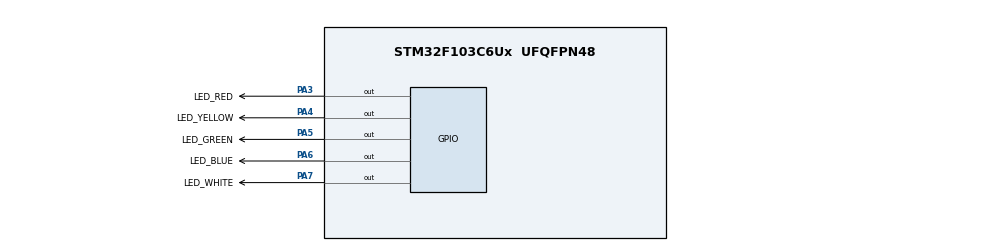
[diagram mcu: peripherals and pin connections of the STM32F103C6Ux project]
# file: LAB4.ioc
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Mcu.Family=STM32F1
Mcu.Name=STM32F103C6Ux
Mcu.Package=UFQFPN48
NVIC.PriorityGroup=NVIC_PRIORITYGROUP_4
NVIC.TIM2_IRQn=true\:0\:0\:false\:false\:true\:true\:true
PA13.Mode=Serial_Wire
PA13.Signal=SYS_JTMS-SWDIO
PA14.Mode=Serial_Wire
PA14.Signal=SYS_JTCK-SWCLK
PA3.GPIO_Label=LED_RED
PA3.Signal=GPIO_Output
PA4.GPIO_Label=LED_YELLOW
PA4.Signal=GPIO_Output
PA5.GPIO_Label=LED_GREEN
PA5.Signal=GPIO_Output
PA6.GPIO_Label=LED_BLUE
PA6.Signal=GPIO_Output
PA7.GPIO_Label=LED_WHITE
PA7.Signal=GPIO_Output
ProjectManager.HeapSize=0x200
ProjectManager.StackSize=0x400
ProjectManager.TargetToolchain=STM32CubeIDE
RCC.APB1Freq_Value=8000000
RCC.APB2Freq_Value=8000000
TIM2.Period=9
TIM2.Prescaler=7999
VP_TIM2_VS_ClockSourceINT.Mode=Internal
board=custom

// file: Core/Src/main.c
/* USER CODE BEGIN Header */
/**
  ******************************************************************************
  * @file           : main.c
  * @brief          : Main program body
  ******************************************************************************
  * @attention
  *
  * <h2><center>&copy; Copyright (c) 2023 STMicroelectronics.
  * All rights reserved.</center></h2>
  *
  * This software component is licensed by ST under BSD 3-Clause license,
  * the "License"; You may not use this file except in compliance with the
  * License. You may obtain a copy of the License at:
  *                        opensource.org/licenses/BSD-3-Clause
  *
  ******************************************************************************
  */
/* USER CODE END Header */
#include "main.h"

/* USER CODE BEGIN Includes */
#include "global.h"
/* USER CODE END Includes */

TIM_HandleTypeDef htim2;

void SystemClock_Config(void);
static void MX_GPIO_Init(void);
static void MX_TIM2_Init(void);

/* USER CODE BEGIN 0 */

void redToggle(){
	HAL_GPIO_TogglePin(LED_RED_GPIO_Port, LED_RED_Pin);
}

void yellowToggle(){
	HAL_GPIO_TogglePin(LED_YELLOW_GPIO_Port, LED_YELLOW_Pin);
}

void greenToggle(){
	HAL_GPIO_TogglePin(LED_GREEN_GPIO_Port, LED_GREEN_Pin);
}

void blueToggle(){
	HAL_GPIO_TogglePin(LED_BLUE_GPIO_Port, LED_BLUE_Pin);
}

void whiteToggle(){
	HAL_GPIO_TogglePin(LED_WHITE_GPIO_Port, LED_WHITE_Pin);
}

/* USER CODE END 0 */

int main(void)
{

  /* MCU Configuration--------------------------------------------------------*/

  /* Reset of all peripherals, Initializes the Flash interface and the Systick. */
  HAL_Init();

  /* Configure the system clock */
  SystemClock_Config();

  /* Initialize all configured peripherals */
  MX_GPIO_Init();
  MX_TIM2_Init();
  /* USER CODE BEGIN 2 */
  HAL_TIM_Base_Start_IT(&htim2);

  SCH_Init();
  SCH_Add_Task(redToggle, 0, 500);
  SCH_Add_Task(yellowToggle, 0, 1000);
  SCH_Add_Task(greenToggle, 0, 1500);
  SCH_Add_Task(blueToggle, 0, 2000);
  SCH_Add_Task(whiteToggle, 0, 2500);
  /* USER CODE END 2 */

  /* Infinite loop */
  while (1)
  {
	  SCH_Dispatch_Tasks();
  }
}

void SystemClock_Config(void)
{
  RCC_OscInitTypeDef RCC_OscInitStruct = {0};
  RCC_ClkInitTypeDef RCC_ClkInitStruct = {0};

  /** Initializes the RCC Oscillators according to the specified parameters
  * in the RCC_OscInitTypeDef structure.
  */
  RCC_OscInitStruct.OscillatorType = RCC_OSCILLATORTYPE_HSI;
  RCC_OscInitStruct.HSIState = RCC_HSI_ON;
  RCC_OscInitStruct.HSICalibrationValue = RCC_HSICALIBRATION_DEFAULT;
  RCC_OscInitStruct.PLL.PLLState = RCC_PLL_NONE;
  if (HAL_RCC_OscConfig(&RCC_OscInitStruct) != HAL_OK)
  {
    Error_Handler();
  }
  /** Initializes the CPU, AHB and APB buses clocks
  */
  RCC_ClkInitStruct.ClockType = RCC_CLOCKTYPE_HCLK|RCC_CLOCKTYPE_SYSCLK
                              |RCC_CLOCKTYPE_PCLK1|RCC_CLOCKTYPE_PCLK2;
  RCC_ClkInitStruct.SYSCLKSource = RCC_SYSCLKSOURCE_HSI;
  RCC_ClkInitStruct.AHBCLKDivider = RCC_SYSCLK_DIV1;
  RCC_ClkInitStruct.APB1CLKDivider = RCC_HCLK_DIV1;
  RCC_ClkInitStruct.APB2CLKDivider = RCC_HCLK_DIV1;

  if (HAL_RCC_ClockConfig(&RCC_ClkInitStruct, FLASH_LATENCY_0) != HAL_OK)
  {
    Error_Handler();
  }
}

static void MX_TIM2_Init(void)
{

  TIM_ClockConfigTypeDef sClockSourceConfig = {0};
  TIM_MasterConfigTypeDef sMasterConfig = {0};

  htim2.Instance = TIM2;
  htim2.Init.Prescaler = 7999;
  htim2.Init.CounterMode = TIM_COUNTERMODE_UP;
  htim2.Init.Period = 9;
  htim2.Init.ClockDivision = TIM_CLOCKDIVISION_DIV1;
  htim2.Init.AutoReloadPreload = TIM_AUTORELOAD_PRELOAD_DISABLE;
  if (HAL_TIM_Base_Init(&htim2) != HAL_OK)
  {
    Error_Handler();
  }
  sClockSourceConfig.ClockSource = TIM_CLOCKSOURCE_INTERNAL;
  if (HAL_TIM_ConfigClockSource(&htim2, &sClockSourceConfig) != HAL_OK)
  {
    Error_Handler();
  }
  sMasterConfig.MasterOutputTrigger = TIM_TRGO_RESET;
  sMasterConfig.MasterSlaveMode = TIM_MASTERSLAVEMODE_DISABLE;
  if (HAL_TIMEx_MasterConfigSynchronization(&htim2, &sMasterConfig) != HAL_OK)
  {
    Error_Handler();
  }

}

static void MX_GPIO_Init(void)
{
  GPIO_InitTypeDef GPIO_InitStruct = {0};

  /* GPIO Ports Clock Enable */
  __HAL_RCC_GPIOA_CLK_ENABLE();

  /*Configure GPIO pin Output Level */
  HAL_GPIO_WritePin(GPIOA, LED_RED_Pin|LED_YELLOW_Pin|LED_GREEN_Pin|LED_BLUE_Pin
                          |LED_WHITE_Pin, GPIO_PIN_RESET);

  /*Configure GPIO pins : LED_RED_Pin LED_YELLOW_Pin LED_GREEN_Pin LED_BLUE_Pin
                           LED_WHITE_Pin */
  GPIO_InitStruct.Pin = LED_RED_Pin|LED_YELLOW_Pin|LED_GREEN_Pin|LED_BLUE_Pin
                          |LED_WHITE_Pin;
  GPIO_InitStruct.Mode = GPIO_MODE_OUTPUT_PP;
  GPIO_InitStruct.Pull = GPIO_NOPULL;
  GPIO_InitStruct.Speed = GPIO_SPEED_FREQ_LOW;
  HAL_GPIO_Init(GPIOA, &GPIO_InitStruct);

}

/* USER CODE BEGIN 4 */
int c = 50;
void HAL_TIM_PeriodElapsedCallback(TIM_HandleTypeDef *htim){
	SCH_Update();
}

/* USER CODE END 4 */

void Error_Handler(void)
{
  __disable_irq();
  while (1)
  {
  }
}

/************************ (C) COPYRIGHT STMicroelectronics *****END OF FILE****/
